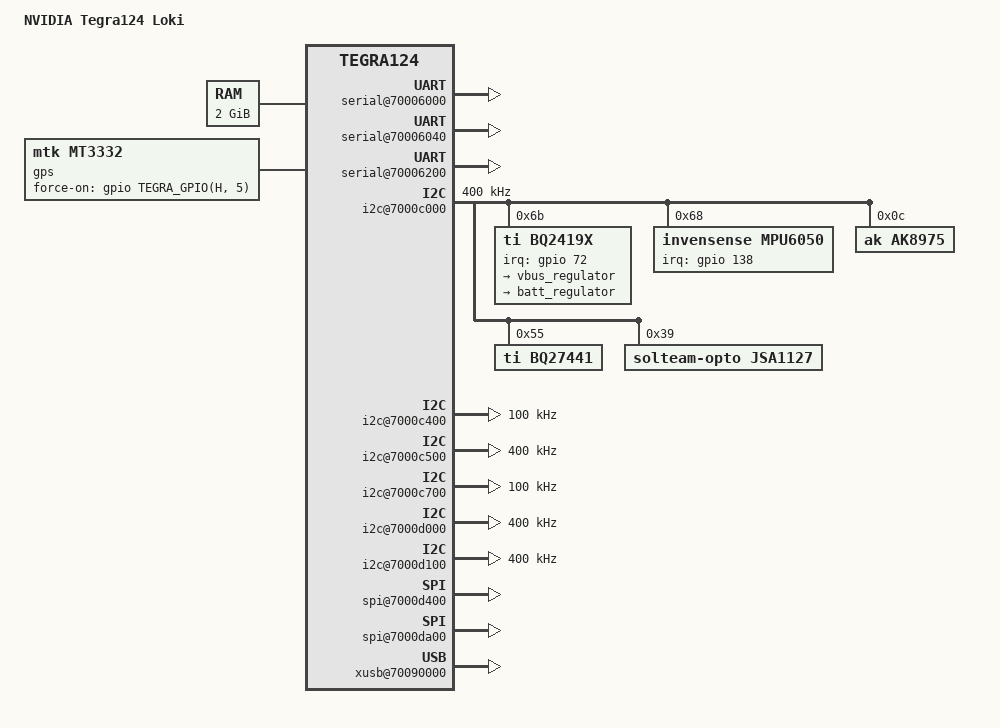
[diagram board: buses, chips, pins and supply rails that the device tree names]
/dts-v1/;

#include "tegra124.dtsi"
#include <dt-bindings/gpio/tegra-gpio.h>

/ {
	model = "NVIDIA Tegra124 Loki";
	compatible = "nvidia,loki", "nvidia,tegra124";
	nvidia,dtsfilename = __FILE__;
	#address-cells = <1>;
	#size-cells = <1>;

	chosen {
		bootargs = "tegraid=40.0.0.00.00 vmalloc=256M video=tegrafb console=ttyS0,115200n8 earlyprintk";
		linux,initrd-start = <0x85000000>;
		linux,initrd-end = <0x851bc400>;
	};

	serial@70006000 {
		compatible = "nvidia,tegra114-hsuart";
		status = "okay";
	};

	serial@70006040 {
		compatible = "nvidia,tegra114-hsuart";
		status = "okay";
	};

	serial@70006200 {
		compatible = "nvidia,tegra114-hsuart";
		status = "okay";
	};

	memory@0x80000000 {
		device_type = "memory";
		reg = <0x80000000 0x80000000>;
	};

	i2c@7000c000 {
		status = "okay";
		clock-frequency = <400000>;
		bq2419x: bq2419x@6b {
			compatible = "ti,bq2419x";
			reg = <0x6b>;
			interrupt-parent = <&gpio>;
			interrupts = <72 0x0>;
			ti,charging-term-current-mA = <100>;

			vbus {
				regulator-name = "vbus_regulator";
				ti,otg-iusb-gpio = <&gpio TEGRA_GPIO(I, 4) 0>;
				consumers {
					c1 {
						regulator-consumer-supply = "usb_vbus";
						regulator-consumer-device = "tegra-ehci.0";
					};

					c2 {
						regulator-consumer-supply = "usb_vbus";
						regulator-consumer-device = "tegra-otg";
					};
				};
			};

			charger {
				regulator-name = "batt_regulator";
				regulator-max-microamp = <3000000>;
				ti,watchdog-timeout = <40>;
				ti,rtc-alarm-time = <3600>;
				ti,auto-recharge-time = <1800>;
				ti,disbale-suspend-during-charging;
				consumers {
					c1 {
						regulator-consumer-supply = "usb_bat_chg";
						regulator-consumer-device = "tegra-udc.0";
					};
				};
			};
		};

		mpu6050@68 {
			compatible = "invensense,mpu6050";
			reg = <0x68>;
			interrupt-parent = <&gpio>;
			interrupts = <138 0x01>;
			invensense,int_config = <0x10>;
			invensense,level_shifter = <0>;
			invensense,orientation = [ff 00 00 00 01 00 00 00 ff];
			invensense,sec_slave_type = <0>;
			invensense,key = [4e cc 7e eb f6 1e 35 22
					  00 34 0d 65 32 e9 94 89];
		};

		ak8975@0c {
			compatible = "ak,ak8975";
			reg = <0x0c>;
			orientation = [01 00 00 00 ff 00 00 00 ff];
			config = "mpu";
		};

		bq27441@55 {
			compatible = "ti,bq27441";
			reg = <0x55>;
			ti,design-capacity = <7800>;
			ti,design-energy = <28314>;
			ti,taper-rate = <167>;
			ti,terminate-voltage = <3150>;
			ti,v-at-chg-term = <4200>;
			ti,tz-name = "battery-temp";
		};

		jsa1127@39 {
			compatible = "solteam-opto,jsa1127";
			reg = <0x39>;
			solteam-opto,rint = <100>;
			solteam-opto,integration-time = <200>;
			solteam-opto,use-internal-integration-timing = <1>;
			solteam-opto,tint-coeff = <22>;
			solteam-opto,noisy = <1>;
		};
	};

	i2c@7000c400 {
		status = "okay";
		clock-frequency = <100000>;
	};

	i2c@7000c500 {
		status = "okay";
		clock-frequency = <400000>;
	};

	i2c@7000c700 {
		status = "okay";
		clock-frequency = <100000>;
	};

	i2c@7000d000 {
		status = "okay";
		clock-frequency = <400000>;
		nvidia,bit-banging-xfer-after-shutdown;
	};

	i2c@7000d100 {
		status = "okay";
		clock-frequency = <400000>;
	};

	spi@7000d400 {
		status = "okay";
		spi-max-frequency = <25000000>;
	};

	spi@7000da00 {
		status = "okay";
		spi-max-frequency = <25000000>;
	};

	gps {
		compatible = "mtk,mt3332";
		force-on-gpios = <&gpio TEGRA_GPIO(H, 5) GPIO_ACTIVE_HIGH>;
	};

	pmc {
		status = "okay";
		nvidia,invert-interrupt;
		nvidia,suspend-mode = <3>;
		nvidia,cpu-pwr-good-time = <500>;
		nvidia,cpu-pwr-off-time = <300>;
		nvidia,core-pwr-good-time = <3845 3845>;
		nvidia,core-pwr-off-time = <2000>;
		nvidia,core-power-req-active-high;
		nvidia,sys-clock-req-active-high;
	};

	xusb@70090000 {
		/* nvidia,uses_external_pmic;
		nvidia,gpio_controls_muxed_ss_lanes; */
		nvidia,gpio_ss1_sata = <0>;
		nvidia,portmap = <0x703>; /* SSP0, SSP1 USB2P0, USB2P1, USBP2 */
		nvidia,ss_portmap = <0x20>; /* SSP0 on USB2P0, SSP1 on USB2P2 */
		nvidia,lane_owner = <6>; /* USB3P0 USB3P1 */
		nvidia,ulpicap = <0>; /* No ulpi support. can we remove */
		nvidia,supply_utmi_vbuses = "", "", "";
		nvidia,supply_s3p3v = "hvdd_usb";
		nvidia,supply_s1p8v = "avdd_pll_utmip";
		nvidia,supply_vddio_hsic = "vddio_hsic";
		nvidia,supply_s1p05v = "avddio_usb";
		status = "okay";
	};
};
